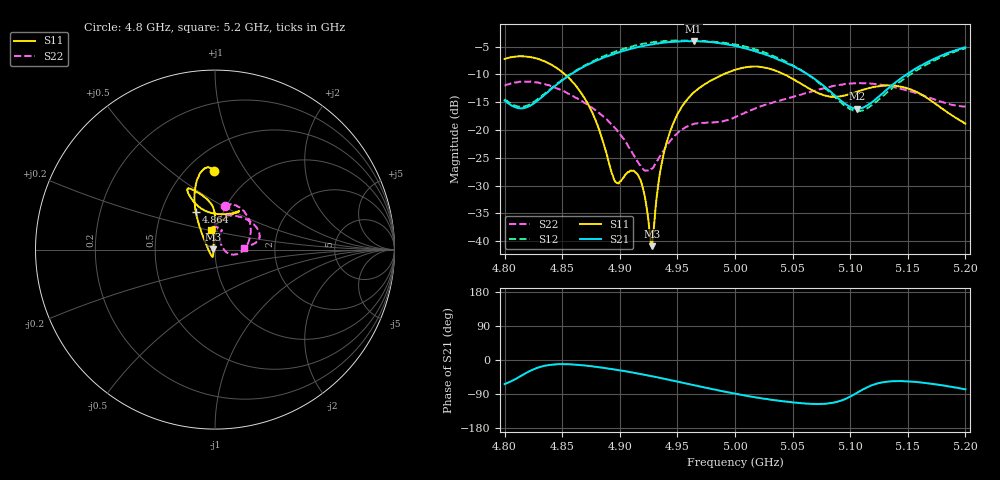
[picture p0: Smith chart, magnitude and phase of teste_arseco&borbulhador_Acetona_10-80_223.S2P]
! Network Analyzer HP8722D
! Hewlett-Packard
! Data name: Linha & Wilkinson
! Saver's name: Rodrigo Anjos
! Comments: Teste da utilização de aquisição
! continua pelo VNA HP8722D
! Time and date: 25/4/2025 17:07
!  Frequency  S11  S21  S12  S22
# HZ  S  MA R 50
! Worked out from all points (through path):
!   401 points, 4.8 GHz to 5.2 GHz, reference 50 ohm
!   highest |S21| = -4.01 dB at 4.964 GHz (marker M1); lowest = -16.2 dB at 5.106 GHz (marker M2)
!   lowest |S11| = -40.9 dB at 4.928 GHz (marker M3), VSWR 1.02, Z = 49.1 + j0.211 ohm
!   |S11| at or under -10 dB: 4.852 GHz to 4.99 GHz (137.2 MHz wide, 2.79 % of centre); 5.043 GHz to end of sweep
!   |S22| runs from -27.3 to -11.3 dB; largest |S21 - S12| = 1.2
!   S11 on the Smith chart (normalised r, x): 4.8 GHz: 0.67, +0.72; 4.864 GHz: 0.75, +0.33; 5.2 GHz: 0.93, +0.21
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4.8e9  0.4359 91.0  0.1844 -63.6  0.1895 70.1  0.2502 77.2
4.82e9  0.4544 97.3  0.1614 -31.9  0.167 98.7  0.2726 61.2
4.844e9  0.3682 107.1  0.2504 -11.6  0.2538 119.2  0.2399 35.1
4.864e9  0.2344 117.0  0.3497 -12.9  0.3526 121.0  0.1901 12.0
4.867e9  0.2112 118.9  0.3627 -13.8  0.3672 120.8  0.1824 8.8
4.88e9  0.1148 129.2  0.4228 -18.4  0.4323 118.3  0.1482 -5.0
4.896e9  0.03435 -170.2  0.4884 -25.3  0.505 113.3  0.1039 -15.7
4.91e9  0.04314 -110.8  0.5381 -32.5  0.5642 107.0  0.06478 -12.9
4.917e9  0.03708 -107.6  0.5619 -36.3  0.5892 103.6  0.04886 -0.1
4.926e9  0.01174 -145.6  0.5859 -41.8  0.6104 98.4  0.04305 33.6
4.928e9  0.009043 166.2  0.5886 -43.0  0.6154 97.0  0.04504 41.8
4.934e9  0.03616 101.5  0.6022 -46.8  0.6269 93.2  0.05641 58.2
4.939e9  0.06689 94.5  0.6134 -49.8  0.6331 90.0  0.06806 65.0
4.946e9  0.1125 90.6  0.6213 -54.3  0.6366 85.6  0.08511 69.4
4.964e9  0.217 91.2  0.6304 -66.2  0.6348 74.1  0.113 71.0
5e9  0.3479 109.2  0.5708 -88.9  0.589 50.7  0.1306 87.8
5.029e9  0.3584 115.2  0.4675 -103.8  0.4853 34.3  0.1719 85.5
5.067e9  0.2282 105.8  0.299 -115.8  0.2963 23.6  0.2227 56.9
5.106e9  0.2212 65.5  0.1556 -86.7  0.1479 56.5  0.2635 24.6
5.134e9  0.252 58.0  0.2414 -56.6  0.2271 88.8  0.2476 12.4
5.168e9  0.1903 70.3  0.4124 -61.7  0.3961 85.2  0.1963 7.1
5.2e9  0.1141 101.2  0.5536 -77.4  0.5439 70.1  0.1624 3.6
